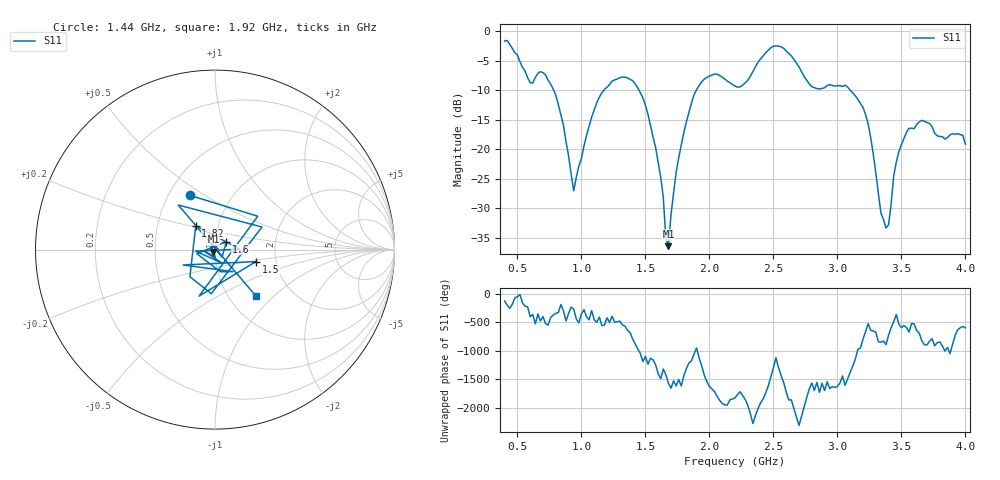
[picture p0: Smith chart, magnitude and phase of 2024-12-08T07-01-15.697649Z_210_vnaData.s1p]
!Created with skrf (http://scikit-rf.org).
# Hz S RI R 50.0
!freq ReS11 ImS11
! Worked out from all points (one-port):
!   181 points, 400 MHz to 4 GHz, reference 50 ohm
!   lowest |S11| = -36.4 dB at 1.68 GHz (marker M1), VSWR 1.03, Z = 49.1 - j1.19 ohm
!   |S11| at or under -10 dB: 784.3 MHz to 1.174 GHz (389.7 MHz wide, 39.8 % of centre); 1.451 GHz to 1.897 GHz (445.9 MHz wide, 26.6 % of centre); 3.101 GHz to end of sweep
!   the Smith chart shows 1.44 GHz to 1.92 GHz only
!   S11 on the Smith chart (normalised r, x): 1.44 GHz: 0.64, +0.43; 1.5 GHz: 1.57, -0.22; 1.6 GHz: 1.13, +0.10; 1.82 GHz: 0.78, +0.21; 1.92 GHz: 1.33, -0.79
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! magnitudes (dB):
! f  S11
! 400 MHz  -1.6
! 600 MHz  -8.7
! 720 MHz  -7.4
! 860 MHz  -15.9
! 940 MHz  -27.0
! 1.12 GHz  -12.1
! 1.3 GHz  -7.9
! 1.44 GHz  -9.6
! 1.5 GHz  -12.5
! 1.6 GHz  -22.2
! 1.64 GHz  -28.2
! 1.66 GHz  -35.1
! 1.68 GHz  -36.4
! 1.76 GHz  -21.4
! 1.82 GHz  -15.3
! 1.92 GHz  -9.2
! 2.2 GHz  -9.3
! 2.5 GHz  -2.5
! 2.66 GHz  -4.7
! 2.8 GHz  -9.4
! 3.1 GHz  -10.0
! 3.24 GHz  -15.6
! 3.34 GHz  -30.8
! 3.38 GHz  -33.3
! 3.4 GHz  -32.8
! 3.46 GHz  -22.2
! 3.56 GHz  -16.4
! 4 GHz  -19.1
